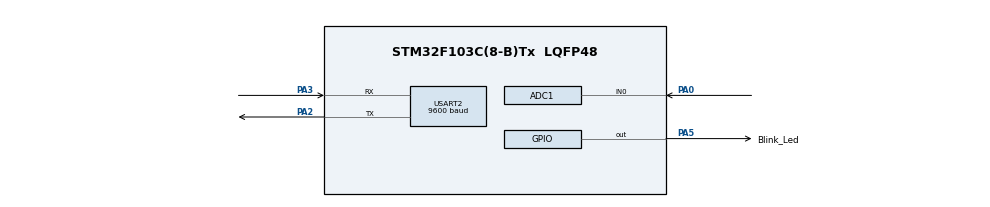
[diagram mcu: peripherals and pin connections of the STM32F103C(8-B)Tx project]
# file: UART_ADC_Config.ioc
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ADC1.Channel-5\#ChannelRegularConversion=ADC_CHANNEL_0
ADC1.ContinuousConvMode=ENABLE
ADC1.NbrOfConversionFlag=1
ADC1.Rank-5\#ChannelRegularConversion=1
ADC1.SamplingTime-5\#ChannelRegularConversion=ADC_SAMPLETIME_1CYCLE_5
ADC1.master=1
Mcu.Family=STM32F1
Mcu.Name=STM32F103C(8-B)Tx
Mcu.Package=LQFP48
NVIC.ADC1_2_IRQn=true\:0\:0\:false\:false\:true\:true\:true\:true
NVIC.PriorityGroup=NVIC_PRIORITYGROUP_4
NVIC.USART2_IRQn=true\:0\:0\:false\:false\:true\:true\:true\:true
PA0-WKUP.Signal=ADCx_IN0
PA2.Mode=Asynchronous
PA2.Signal=USART2_TX
PA3.Mode=Asynchronous
PA3.Signal=USART2_RX
PA5.GPIO_Label=Blink_Led
PA5.Signal=GPIO_Output
ProjectManager.HeapSize=0x200
ProjectManager.StackSize=0x400
ProjectManager.TargetToolchain=STM32CubeIDE
RCC.APB1Freq_Value=8000000
RCC.APB2Freq_Value=8000000
SH.ADCx_IN0.0=ADC1_IN0,IN0
USART2.BaudRate=9600
USART2.VirtualMode=VM_ASYNC
VP_SYS_VS_ND.Mode=No_Debug
board=custom

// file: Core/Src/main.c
/* USER CODE BEGIN Header */
/**
  ******************************************************************************
  * @file           : main.c
  * @brief          : Main program body
  ******************************************************************************
  * @attention
  *
  * Copyright (c) 2025 STMicroelectronics.
  * All rights reserved.
  *
  * This software is licensed under terms that can be found in the LICENSE file
  * in the root directory of this software component.
  * If no LICENSE file comes with this software, it is provided AS-IS.
  *
  ******************************************************************************
  */
/* USER CODE END Header */
#include "main.h"

/* USER CODE BEGIN Includes */
#include <stdio.h>
#include "string.h"

/* USER CODE END Includes */

ADC_HandleTypeDef hadc1;

UART_HandleTypeDef huart2;

void SystemClock_Config(void);
static void MX_GPIO_Init(void);
static void MX_USART2_UART_Init(void);
static void MX_ADC1_Init(void);

/* USER CODE BEGIN 0 */
uint8_t response[30];

uint8_t temp = 0; // buffer

void HAL_UART_RxCpltCallback(UART_HandleTypeDef *huart) {
	if (huart->Instance == USART2) {
		HAL_UART_Transmit(&huart2, &temp, 1, 50);
		HAL_UART_Receive_IT(&huart2, &temp, 1);
	}
}

/* USER CODE END 0 */

int main(void)
{

  /* MCU Configuration--------------------------------------------------------*/

  /* Reset of all peripherals, Initializes the Flash interface and the Systick. */
  HAL_Init();

  /* Configure the system clock */
  SystemClock_Config();

  /* Initialize all configured peripherals */
  MX_GPIO_Init();
  MX_USART2_UART_Init();
  MX_ADC1_Init();
  /* USER CODE BEGIN 2 */

  HAL_UART_Receive_IT(&huart2, &temp, 1);
  HAL_ADC_Start(&hadc1);

  /* USER CODE END 2 */

  /* Infinite loop */
  /* USER CODE BEGIN WHILE */
  int ADC_value = 0;
  while (1)
  {
    /* USER CODE END WHILE */

    /* USER CODE BEGIN 3 */
	  HAL_GPIO_TogglePin(Blink_Led_GPIO_Port, Blink_Led_Pin);
	  ADC_value = HAL_ADC_GetValue(&hadc1);
	  snprintf((char*)response, sizeof(response), "%lu \r\n",(uint32_t) ADC_value);
	  HAL_UART_Transmit(&huart2, (uint8_t *) response, sizeof(response), 1000);
	  HAL_Delay(500);

//	  HAL_UART_Transmit(&huart2, (uint8_t *) "Hello World!\r\n", 15U, 100U);
  }
  /* USER CODE END 3 */
}

void SystemClock_Config(void)
{
  RCC_OscInitTypeDef RCC_OscInitStruct = {0};
  RCC_ClkInitTypeDef RCC_ClkInitStruct = {0};
  RCC_PeriphCLKInitTypeDef PeriphClkInit = {0};

  /** Initializes the RCC Oscillators according to the specified parameters
  * in the RCC_OscInitTypeDef structure.
  */
  RCC_OscInitStruct.OscillatorType = RCC_OSCILLATORTYPE_HSI;
  RCC_OscInitStruct.HSIState = RCC_HSI_ON;
  RCC_OscInitStruct.HSICalibrationValue = RCC_HSICALIBRATION_DEFAULT;
  RCC_OscInitStruct.PLL.PLLState = RCC_PLL_NONE;
  if (HAL_RCC_OscConfig(&RCC_OscInitStruct) != HAL_OK)
  {
    Error_Handler();
  }

  /** Initializes the CPU, AHB and APB buses clocks
  */
  RCC_ClkInitStruct.ClockType = RCC_CLOCKTYPE_HCLK|RCC_CLOCKTYPE_SYSCLK
                              |RCC_CLOCKTYPE_PCLK1|RCC_CLOCKTYPE_PCLK2;
  RCC_ClkInitStruct.SYSCLKSource = RCC_SYSCLKSOURCE_HSI;
  RCC_ClkInitStruct.AHBCLKDivider = RCC_SYSCLK_DIV1;
  RCC_ClkInitStruct.APB1CLKDivider = RCC_HCLK_DIV1;
  RCC_ClkInitStruct.APB2CLKDivider = RCC_HCLK_DIV1;

  if (HAL_RCC_ClockConfig(&RCC_ClkInitStruct, FLASH_LATENCY_0) != HAL_OK)
  {
    Error_Handler();
  }
  PeriphClkInit.PeriphClockSelection = RCC_PERIPHCLK_ADC;
  PeriphClkInit.AdcClockSelection = RCC_ADCPCLK2_DIV2;
  if (HAL_RCCEx_PeriphCLKConfig(&PeriphClkInit) != HAL_OK)
  {
    Error_Handler();
  }
}

static void MX_ADC1_Init(void)
{

  ADC_ChannelConfTypeDef sConfig = {0};

  /** Common config
  */
  hadc1.Instance = ADC1;
  hadc1.Init.ScanConvMode = ADC_SCAN_DISABLE;
  hadc1.Init.ContinuousConvMode = ENABLE;
  hadc1.Init.DiscontinuousConvMode = DISABLE;
  hadc1.Init.ExternalTrigConv = ADC_SOFTWARE_START;
  hadc1.Init.DataAlign = ADC_DATAALIGN_RIGHT;
  hadc1.Init.NbrOfConversion = 1;
  if (HAL_ADC_Init(&hadc1) != HAL_OK)
  {
    Error_Handler();
  }

  /** Configure Regular Channel
  */
  sConfig.Channel = ADC_CHANNEL_0;
  sConfig.Rank = ADC_REGULAR_RANK_1;
  sConfig.SamplingTime = ADC_SAMPLETIME_1CYCLE_5;
  if (HAL_ADC_ConfigChannel(&hadc1, &sConfig) != HAL_OK)
  {
    Error_Handler();
  }

}

static void MX_USART2_UART_Init(void)
{

  huart2.Instance = USART2;
  huart2.Init.BaudRate = 9600;
  huart2.Init.WordLength = UART_WORDLENGTH_8B;
  huart2.Init.StopBits = UART_STOPBITS_1;
  huart2.Init.Parity = UART_PARITY_NONE;
  huart2.Init.Mode = UART_MODE_TX_RX;
  huart2.Init.HwFlowCtl = UART_HWCONTROL_NONE;
  huart2.Init.OverSampling = UART_OVERSAMPLING_16;
  if (HAL_UART_Init(&huart2) != HAL_OK)
  {
    Error_Handler();
  }

}

static void MX_GPIO_Init(void)
{
  GPIO_InitTypeDef GPIO_InitStruct = {0};

  /* GPIO Ports Clock Enable */
  __HAL_RCC_GPIOA_CLK_ENABLE();

  /*Configure GPIO pin Output Level */
  HAL_GPIO_WritePin(Blink_Led_GPIO_Port, Blink_Led_Pin, GPIO_PIN_RESET);

  /*Configure GPIO pin : Blink_Led_Pin */
  GPIO_InitStruct.Pin = Blink_Led_Pin;
  GPIO_InitStruct.Mode = GPIO_MODE_OUTPUT_PP;
  GPIO_InitStruct.Pull = GPIO_NOPULL;
  GPIO_InitStruct.Speed = GPIO_SPEED_FREQ_LOW;
  HAL_GPIO_Init(Blink_Led_GPIO_Port, &GPIO_InitStruct);

}

void Error_Handler(void)
{
  __disable_irq();
  while (1)
  {
  }
}
